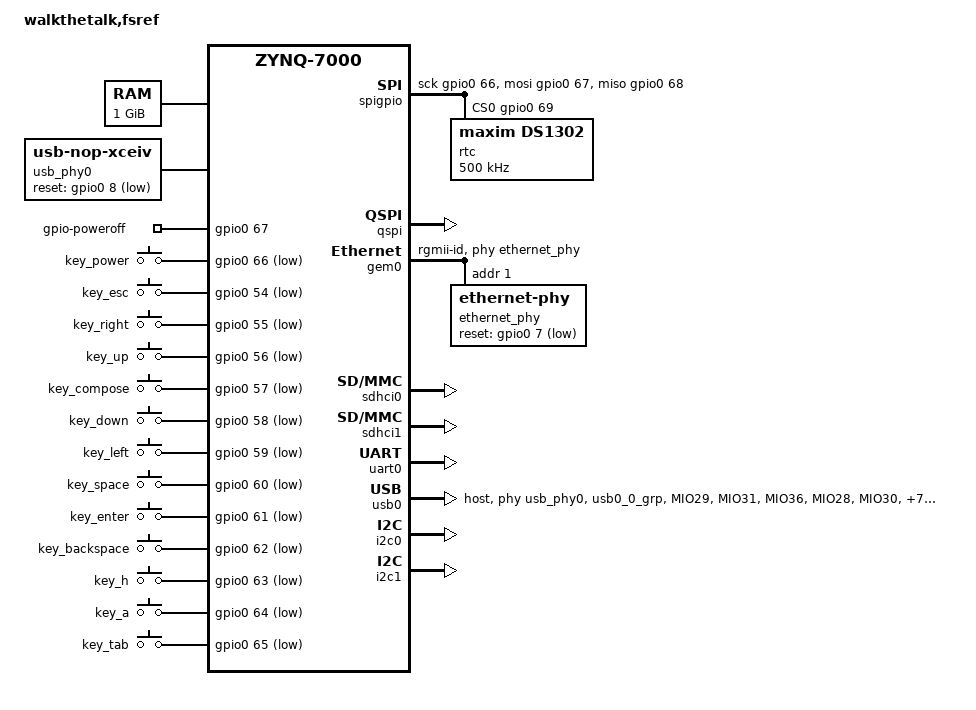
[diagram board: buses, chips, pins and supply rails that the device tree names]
/*
 * system-top.dts
 * system.dts
 * pcw.dtsi
 * NOTE: we dropped pl.dtsi for fscore registers, but use uio instead.
 */

/dts-v1/;
#include "zynq-7000.dtsi"
#include <dt-bindings/gpio/gpio.h>
#include <dt-bindings/input/gpio-keys.h>
#include <dt-bindings/input/input.h>

/ {
	// copy from microzed.dts
	model = "walkthetalk,fsref";
	compatible = "xlnx,zynq-7000";

	// copy from system-top.dts, add uio settings for bootargs
	chosen {
		bootargs = "earlycon uio_pdrv_genirq.of_id=generic-uio random.trust_cpu=on root=/dev/mmcblk0p2 rw rootfstype=ext4 rootwait";
		// NOTE: indeed we use uart1, but here must be serial0, or
		//       we will get no any output after bootconsole disabled.
		//       so we changed the alias to swap uart0 and uart1.
		stdout-path = "serial0:115200n8";
	};
	aliases {
		ethernet0 = &gem0;
		serial0 = &uart0;
		serial1 = &uart1;
		//spi0 = &qspi;
		mmc0 = &sdhci0;
		mmc1 = &sdhci1;
	};
	memory@0 {
		device_type = "memory";
		reg = <0x0 0x40000000>;
	};

	// copy from pcw.dtsi for clock settings
	cpus {
		cpu@0 {
			operating-points = <666666 1000000 333333 1000000>;
		};
	};

	// custom reserved memory for fixed buffers used by display and cmos sensor
	reserved-memory {
		#address-cells = <1>;
		#size-cells = <1>;
		ranges;

		fb0mem: buffer@3F000000 {
			no-map;
			reg = <0x3F000000 0x800000>;
		};

		fb1mem: buffer@3F800000 {
			no-map;
			reg = <0x3F800000 0x800000>;
		};

		cmos0mem0: buffer@3B000000 {
			no-map;
			reg = <0x3B000000 0x800000>;
		};

		cmos0mem1: buffer@3B800000 {
			no-map;
			reg = <0x3B800000 0x800000>;
		};

		cmos0mem2: buffer@3C000000 {
			no-map;
			reg = <0x3C000000 0x800000>;
		};

		cmos0mem3: buffer@3C800000 {
			no-map;
			reg = <0x3C800000 0x800000>;
		};

		cmos1mem0: buffer@3D000000 {
			no-map;
			reg = <0x3D000000 0x800000>;
		};

		cmos1mem1: buffer@3D800000 {
			no-map;
			reg = <0x3D800000 0x800000>;
		};

		cmos1mem2: buffer@3E000000 {
			no-map;
			reg = <0x3E000000 0x800000>;
		};

		cmos1mem3: buffer@3E800000 {
			no-map;
			reg = <0x3E800000 0x800000>;
		};
	};

	// for fscore registers
	uio_fscore@43C00000 {
		compatible = "generic-uio";
		reg = < 0x43C00000 0x1000 >;
		interrupts = < 0 29 0x4 >;
		interrupt-parent = <&intc>;
	};

	usb_phy0: phy0 {
		compatible = "usb-nop-xceiv";
		#phy-cells = <0>;
		reset-gpios = <&gpio0 8 GPIO_ACTIVE_LOW>;
	};

	gpio-poweroff {
		compatible = "gpio-poweroff";
		gpios = <&gpio0 67 GPIO_ACTIVE_HIGH>;
	};

	gpio-keys {
		compatible = "gpio-keys";
		#address-cells = <1>;
		#size-cells = <0>;
		autorepeat;
		power-button {
			label = "key_power";
			gpios = <&gpio0 66 GPIO_ACTIVE_LOW>;
			linux,code = <KEY_POWER>;
			gpio-key,wakeup;
		};
		sw0 {
			label = "key_esc";
			gpios = <&gpio0 54 GPIO_ACTIVE_LOW>;
			linux,code = <KEY_ESC>;
			gpio-key,wakeup;
			autorepeat;
		};
		sw1 {
			label = "key_right";
			gpios = <&gpio0 55 GPIO_ACTIVE_LOW>;
			linux,code = <KEY_RIGHT>;
			gpio-key,wakeup;
			autorepeat;
		};
		sw2 {
			label = "key_up";
			gpios = <&gpio0 56 GPIO_ACTIVE_LOW>;
			linux,code = <KEY_UP>;
			gpio-key,wakeup;
			autorepeat;
		};
		sw3 {
			label = "key_compose";
			gpios = <&gpio0 57 GPIO_ACTIVE_LOW>;
			linux,code = <KEY_COMPOSE>;
			gpio-key,wakeup;
			autorepeat;
		};
		sw4 {
			label = "key_down";
			gpios = <&gpio0 58 GPIO_ACTIVE_LOW>;
			linux,code = <KEY_DOWN>;
			gpio-key,wakeup;
			autorepeat;
		};
		sw5 {
			label = "key_left";
			gpios = <&gpio0 59 GPIO_ACTIVE_LOW>;
			linux,code = <KEY_LEFT>;
			gpio-key,wakeup;
			autorepeat;
		};
		sw6 {
			label = "key_space";
			gpios = <&gpio0 60 GPIO_ACTIVE_LOW>;
			linux,code = <KEY_SPACE>;
			gpio-key,wakeup;
			autorepeat;
		};
		sw7 {
			label = "key_enter";
			gpios = <&gpio0 61 GPIO_ACTIVE_LOW>;
			linux,code = <KEY_ENTER>; /* auto */
			gpio-key,wakeup;
			autorepeat;
		};
		sw8 {
			label = "key_backspace";
			gpios = <&gpio0 62 GPIO_ACTIVE_LOW>;
			linux,code = <KEY_BACKSPACE>; /* reset */
			gpio-key,wakeup;
			autorepeat;
		};
		sw9 {
			label = "key_h";
			gpios = <&gpio0 63 GPIO_ACTIVE_LOW>;
			linux,code = <KEY_H>; /* heat */
			gpio-key,wakeup;
			autorepeat;
		};
		sw10 {
			label = "key_a";
			gpios = <&gpio0 64 GPIO_ACTIVE_LOW>;
			linux,code = <KEY_A>; /* arc */
			gpio-key,wakeup;
			autorepeat;
		};
		sw11 {
			label = "key_tab";
			gpios = <&gpio0 65 GPIO_ACTIVE_LOW>;
			linux,code = <KEY_TAB>;	/* XY */
			gpio-key,wakeup;
			autorepeat;
		};
	};

	spigpio {
		compatible = "spi-gpio";
		#address-cells = <0x1>;
		ranges;

		sck-gpios = <&gpio0 66 0>;
		mosi-gpios = <&gpio0 67 0>;
		miso-gpios = <&gpio0 68 0>;
		cs-gpios = <&gpio0 69 0>;
		num-chipselects = <1>;

		/* clients */
		rtc@0 {
			compatible = "maxim,ds1302";
			reg = <0>;
			spi-max-frequency = <500000>;
			spi-3wire;
			spi-lsb-first;
			spi-cs-high;
		};
	};
};


// copy from zynq-7000.dtsi generated by xsdk generated
// for patching zynq-7000.dtsi in kernel
&amba {
	ocmc: ocmc@f800c000 {
		compatible = "xlnx,zynq-ocmc-1.0";
		interrupt-parent = <&intc>;
		interrupts = <0 3 4>;
		reg = <0xf800c000 0x1000>;
	};

	qspi: spi@e000d000 {
		clock-names = "ref_clk", "pclk";
		clocks = <&clkc 10>, <&clkc 43>;
		compatible = "xlnx,zynq-qspi-1.0";
		status = "disabled";
		interrupt-parent = <&intc>;
		interrupts = <0 19 4>;
		reg = <0xe000d000 0x1000>;
		#address-cells = <1>;
		#size-cells = <0>;
	};

	smcc: memory-controller@e000e000 {
		#address-cells = <1>;
		#size-cells = <1>;
		status = "disabled";
		clock-names = "memclk", "apb_pclk";
		clocks = <&clkc 11>, <&clkc 44>;
		compatible = "arm,pl353-smc-r2p1", "arm,primecell";
		interrupt-parent = <&intc>;
		interrupts = <0 18 4>;
		ranges ;
		reg = <0xe000e000 0x1000>;
		nand0: flash@e1000000 {
			status = "disabled";
			compatible = "arm,pl353-nand-r2p1";
			reg = <0xe1000000 0x1000000>;
			#address-cells = <0x1>;
			#size-cells = <0x1>;
		};
		nor0: flash@e2000000 {
			status = "disabled";
			compatible = "cfi-flash";
			reg = <0xe2000000 0x2000000>;
			#address-cells = <1>;
			#size-cells = <1>;
		};
	};

	efuse: efuse@f800d000 {
		compatible = "xlnx,zynq-efuse";
		reg = <0xf800d000 0x20>;
	};
};

&devcfg {
	clocks = <&clkc 12>, <&clkc 15>, <&clkc 16>, <&clkc 17>, <&clkc 18>;
	clock-names = "ref_clk", "fclk0", "fclk1", "fclk2", "fclk3";
};

// copy from pcw.dtsi
// integrated the local-mac-address from system.dts
&gem0 {
	local-mac-address = [00 0a 35 00 00 00];
	phy-mode = "rgmii-id";
	status = "okay";

	phy-handle = <&ethernet_phy>;
	ethernet_phy: ethernet-phy@1 {
		reg = <1>;
		device_type = "ethernet-phy";
		reset-gpios = <&gpio0 7 GPIO_ACTIVE_LOW>;
		//reset-assert-us
		//reset-deassert-us
	};
};
&gpio0 {
	emio-gpio-width = <64>;
	gpio-mask-high = <0x0>;
	gpio-mask-low = <0x5600>;
};
&intc {
	num_cpus = <2>;
	num_interrupts = <96>;
};
&qspi {
	is-dual = <0>;
	num-cs = <1>;
	spi-rx-bus-width = <4>;
	spi-tx-bus-width = <4>;
	status = "okay";
};
&sdhci0 {
	status = "okay";
	xlnx,has-cd = <0x1>;
	xlnx,has-power = <0x0>;
	xlnx,has-wp = <0x0>;
};
&sdhci1 {
	status = "okay";
	xlnx,has-cd = <0x0>;
	xlnx,has-power = <0x0>;
	xlnx,has-wp = <0x0>;
};
&uart0 {
	cts-override ;
	device_type = "serial";
	port-number = <0>;
	status = "okay";
};
&uart1 {
	cts-override ;
	device_type = "serial";
	port-number = <1>;
	status = "disabled";
};
&usb0 {
	status = "okay";
	dr_mode = "host";
	usb-phy = <&usb_phy0>;

	pinctrl-names = "default";
	pinctrl-0 = <&pinctrl_usb0_default>;
};

&pinctrl0 {
	pinctrl_usb0_default: usb0-default {
		mux {
			groups = "usb0_0_grp";
			function = "usb0";
		};

		conf {
			groups = "usb0_0_grp";
			slew-rate = <0>;
			io-standard = <1>;
		};

		conf-rx {
			pins = "MIO29", "MIO31", "MIO36";
			bias-high-impedance;
		};

		conf-tx {
			pins = "MIO28", "MIO30", "MIO32", "MIO33", "MIO34",
			       "MIO35", "MIO37", "MIO38", "MIO39";
			bias-disable;
		};
	};
};

&clkc {
	fclk-enable = <0xf>;
	ps-clk-frequency = <33333333>;
};

&i2c0 {
	status = "okay";
};

&i2c1 {
	status = "okay";
};

// custom framebuffers
&amba {
	framebuffer0 {
		compatible = "simple-framebuffer";
		//reg = <0x3FF00000 (320 * 240 * 4)>;
		memory-region = <&fb0mem>;
		width = <800>;
		height = <480>;
		stride = <(800 * 4)>;
		format = "x8r8g8b8";
		clocks = <&clkc 15>, <&clkc 16>, <&clkc 17>, <&clkc 18>;
		// lcd-supply = <&reg_dc1sw>;
	};
	framebuffer1 {
		compatible = "simple-framebuffer";
		memory-region = <&fb1mem>;
		width = <800>;
		height = <480>;
		stride = <(800 * 4)>;
		format = "a8r8g8b8";
		clocks = <&clkc 15>, <&clkc 16>, <&clkc 17>, <&clkc 18>;
		// lcd-supply = <&reg_dc1sw>;
	};
	framebuffer2 {
		compatible = "simple-framebuffer";
		memory-region = <&cmos0mem0>;
		width = <160>;
		height = <400>;
		stride = <640>;
		format = "a8r8g8b8";
		clocks = <&clkc 15>, <&clkc 16>, <&clkc 17>, <&clkc 18>;
		// lcd-supply = <&reg_dc1sw>;
	};
	framebuffer3 {
		compatible = "simple-framebuffer";
		memory-region = <&cmos1mem0>;
		width = <160>;
		height = <400>;
		stride = <640>;
		format = "a8r8g8b8";
		clocks = <&clkc 15>, <&clkc 16>, <&clkc 17>, <&clkc 18>;
		// lcd-supply = <&reg_dc1sw>;
	};
};

